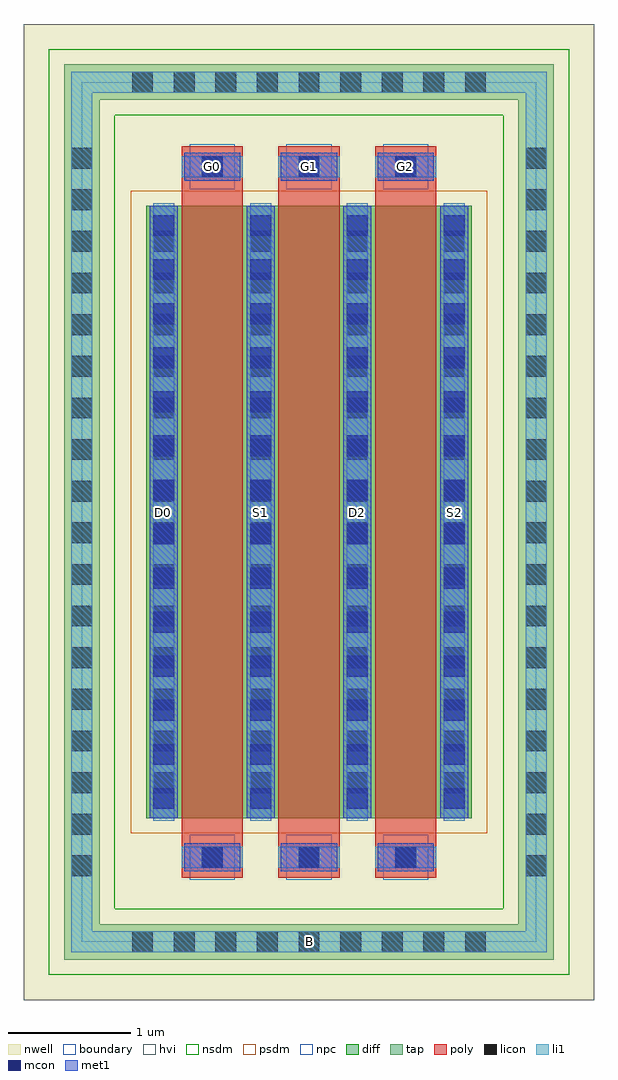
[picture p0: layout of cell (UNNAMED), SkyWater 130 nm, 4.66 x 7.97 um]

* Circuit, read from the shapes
.subckt (UNNAMED) B D0 D2 G0 G1 G2 S1 S2
XM1 S1 G0 D0 B sky130_fd_pr__pfet_g5v0d10v5 w=5 l=0.5
XM2 D2 G1 S1 B sky130_fd_pr__pfet_g5v0d10v5 w=5 l=0.5
XM3 S2 G2 D2 B sky130_fd_pr__pfet_g5v0d10v5 w=5 l=0.5
.ends

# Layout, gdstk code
import gdstk
lib = gdstk.Library(unit=1e-6, precision=1e-09)
def R(c, l, rs):  # rectangles x0, y0, x1, y1
    for r in rs: c.add(gdstk.rectangle(r[:2], r[2:], *l))
def A(c, l, x, y, w, h, nx, ny, dx, dy):  # array of equal rectangles
    R(c, l, [(x+i*dx, y+j*dy, x+i*dx+w, y+j*dy+h) for i in range(nx) for j in range(ny)])
nwell = (64, 20)
diff = (65, 20)
tap = (65, 44)
poly = (66, 20)
licon = (66, 44)
li1 = (67, 20)
mcon = (67, 44)
met1 = (68, 20)
hvi = (75, 20)
nsdm = (93, 44)
psdm = (94, 20)
npc = (95, 20)
boundary = (235, 4)

c__unnamed_ = lib.new_cell('(UNNAMED)')
R(c__unnamed_, nwell, [(-2.33,-3.985,2.33,3.985)])
R(c__unnamed_, diff, [(-1.33,-2.5,1.33,2.5)])
R(c__unnamed_, tap, [(-2,-3.655,2,-3.365), (-2,-3.365,-1.71,3.365), (1.71,-3.365,2,3.365), (-2,3.365,2,3.655)])
A(c__unnamed_, poly, -1.04, -2.985, 0.5, 5.97, 3, 1, 0.79, 0)
A(c__unnamed_, licon, -1.445, -3.595, 0.17, 0.17, 9, 2, 0.34, 7.02)
A(c__unnamed_, licon, -1.94, -2.975, 0.17, 0.17, 1, 18, 0, 0.34)
A(c__unnamed_, licon, 1.77, -2.975, 0.17, 0.17, 1, 18, 0, 0.34)
A(c__unnamed_, licon, -0.875, -2.905, 0.17, 0.17, 3, 2, 0.79, 5.64)
A(c__unnamed_, licon, -1.27, -2.295, 0.17, 0.17, 4, 14, 0.79, 0.34)
A(c__unnamed_, li1, -1.04, -2.905, 0.5, 0.17, 3, 2, 0.79, 5.64)
A(c__unnamed_, li1, -1.27, -2.52, 0.17, 5.04, 4, 1, 0.79, 0)
R(c__unnamed_, li1, [(-1.94,-3.595,1.94,-3.425), (-1.94,-3.425,-1.77,3.425), (1.77,-3.425,1.94,3.425), (-1.94,3.425,1.94,3.595)])
A(c__unnamed_, mcon, -0.875, -2.905, 0.17, 0.17, 3, 2, 0.79, 5.64)
A(c__unnamed_, mcon, -1.27, -2.425, 0.17, 0.17, 4, 14, 0.79, 0.36)
A(c__unnamed_, met1, -1.02, -2.935, 0.46, 0.23, 3, 2, 0.79, 5.64)
A(c__unnamed_, met1, -1.3, -2.5, 0.23, 5, 4, 1, 0.79, 0)
R(c__unnamed_, hvi, [(-2.33,-3.985,2.33,3.985)])
R(c__unnamed_, nsdm, [(-2.125,-3.78,2.125,-3.24), (-2.125,-3.24,-1.585,3.24), (1.585,-3.24,2.125,3.24), (-2.125,3.24,2.125,3.78)])
R(c__unnamed_, psdm, [(-1.455,-2.625,1.455,2.625)])
A(c__unnamed_, npc, -0.975, -3.005, 0.37, 0.37, 3, 2, 0.79, 5.64)
R(c__unnamed_, boundary, [(-1.855,-3.51,1.855,3.51)])
c__unnamed_.add(gdstk.Label('B', (0,-3.51), layer=67, texttype=5))
c__unnamed_.add(gdstk.Label('D0', (-1.185,0), layer=67, texttype=5))
c__unnamed_.add(gdstk.Label('G0', (-0.79,2.82), layer=67, texttype=5))
c__unnamed_.add(gdstk.Label('S1', (-0.395,0), layer=67, texttype=5))
c__unnamed_.add(gdstk.Label('G1', (0,2.82), layer=67, texttype=5))
c__unnamed_.add(gdstk.Label('D2', (0.395,0), layer=67, texttype=5))
c__unnamed_.add(gdstk.Label('S2', (1.185,0), layer=67, texttype=5))
c__unnamed_.add(gdstk.Label('G2', (0.79,2.82), layer=67, texttype=5))

lib.write_gds('_UNNAMED_.gds')
